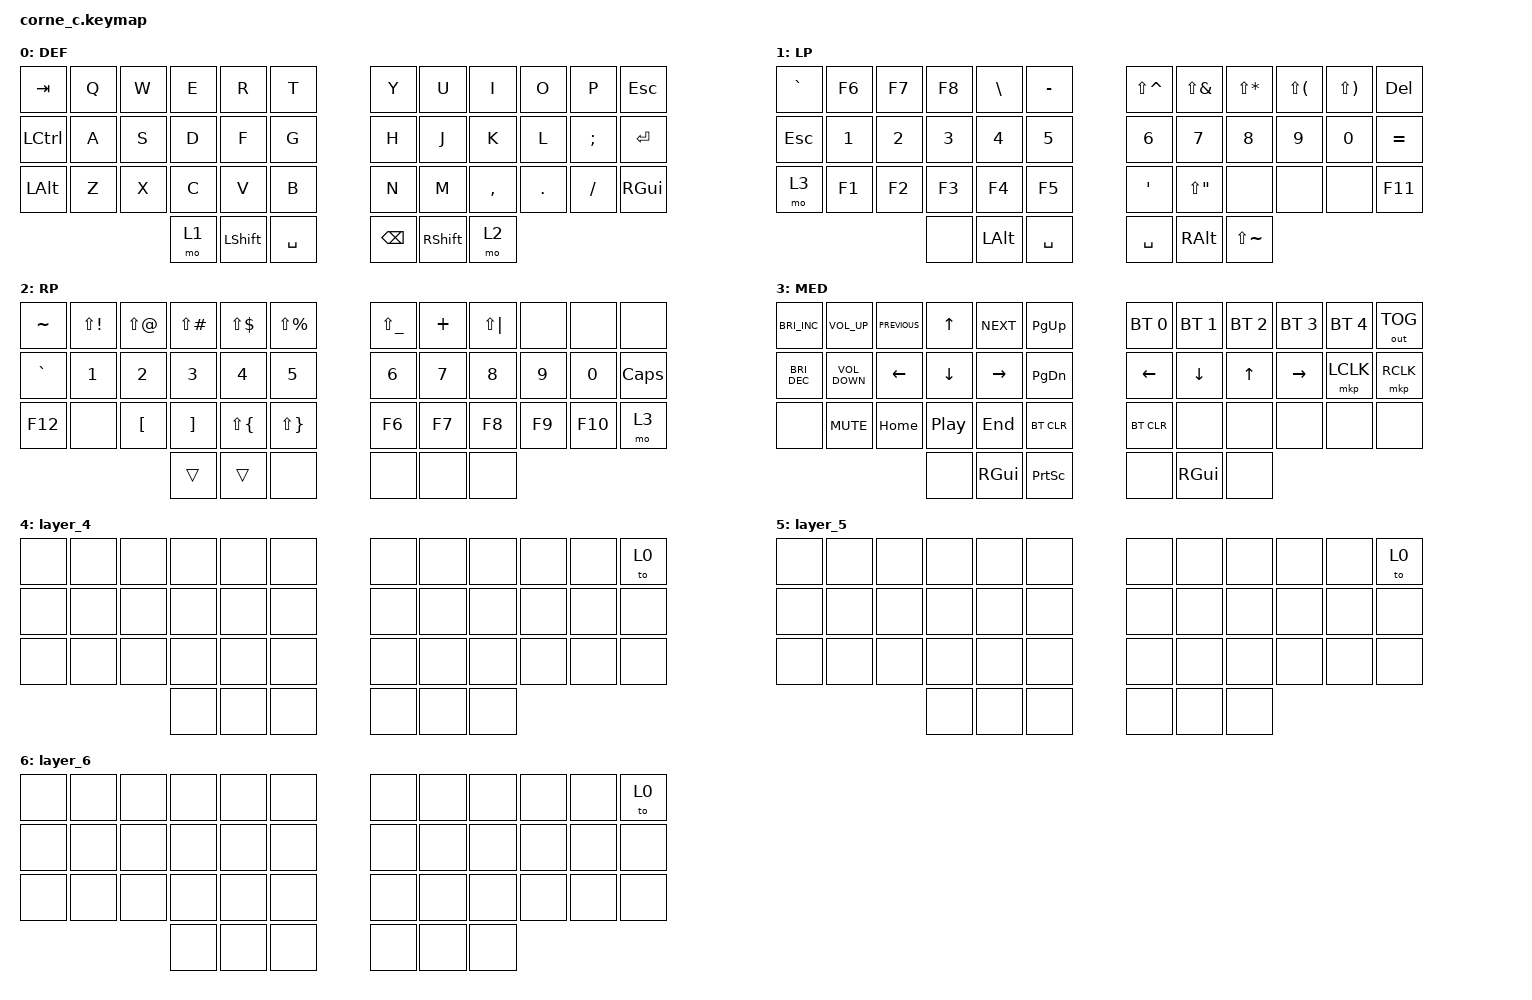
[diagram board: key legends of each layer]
/*
 * Copyright (c) 2020 The ZMK Contributors
 *
 * SPDX-License-Identifier: MIT
 */

#define ZMK_POINTING_DEFAULT_MOVE_VAL 1200  // 600
#define ZMK_POINTING_DEFAULT_SCRL_VAL 25   // 10

#include <dt-bindings/zmk/mouse.h>
#include <behaviors.dtsi>
#include <dt-bindings/zmk/bt.h>
#include <dt-bindings/zmk/keys.h>
#include <dt-bindings/zmk/outputs.h>
#include <dt-bindings/zmk/pointing.h>

/ {
    combos { compatible = "zmk,combos"; };

    macros {
        prev_desktop: prev_desktop {
            compatible = "zmk,behavior-macro";
            #binding-cells = <0>;
            bindings = <&kp LC(LG(LEFT_ARROW))>;
            display-name = "PREV_DESKTOP";
            label = "P-DSK";
        };

        next_desktop: next_desktop {
            compatible = "zmk,behavior-macro";
            #binding-cells = <0>;
            bindings = <&kp LC(LG(RIGHT_ARROW))>;
            display-name = "NEXT_DESKTOP";
            label = "N-DSK";
        };
    };

    keymap {
        compatible = "zmk,keymap";

        default_layer {
            bindings = <
&kp TAB       &kp Q  &kp W  &kp E  &kp R           &kp T        &kp Y          &kp U       &kp I      &kp O    &kp P     &kp ESCAPE
&kp LCTRL     &kp A  &kp S  &kp D  &kp F           &kp G        &kp H          &kp J       &kp K      &kp L    &kp SEMI  &kp RETURN
&kp LEFT_ALT  &kp Z  &kp X  &kp C  &kp V           &kp B        &kp N          &kp M       &kp COMMA  &kp DOT  &kp FSLH  &kp RIGHT_GUI
                            &mo 1  &kp LEFT_SHIFT  &kp SPACE    &kp BACKSPACE  &kp RSHIFT  &mo 2
            >;

            display-name = "DEF";
        };

        l_primer {
            bindings = <
&kp GRAVE  &kp F6  &kp F7  &kp F8  &kp BACKSLASH  &kp MINUS    &kp LS(CARET)  &kp LS(AMPS)  &kp LS(STAR)   &kp LS(LPAR)  &kp LS(RPAR)  &kp DEL
&kp ESC    &kp N1  &kp N2  &kp N3  &kp N4         &kp N5       &kp N6         &kp N7        &kp N8         &kp N9        &kp N0        &kp EQUAL
&mo 3      &kp F1  &kp F2  &kp F3  &kp F4         &kp F5       &kp SQT        &kp LS(DQT)   &none          &none         &none         &kp F11
                           &none   &kp LALT       &kp SPACE    &kp SPACE      &kp RALT      &kp LS(TILDE)
            >;

            display-name = "LP";
        };

        r_primer {
            bindings = <
&kp TILDE  &kp LS(EXCL)  &kp LS(AT)  &kp LS(POUND)  &kp LS(DLLR)  &kp LS(PRCNT)    &kp LS(UNDER)  &kp PLUS  &kp LS(PIPE)  &none   &none    &none
&kp GRAVE  &kp N1        &kp N2      &kp N3         &kp N4        &kp N5           &kp N6         &kp N7    &kp N8        &kp N9  &kp N0   &kp CAPS
&kp F12    &none         &kp LBKT    &kp RBKT       &kp LS(LBRC)  &kp LS(RBRC)     &kp F6         &kp F7    &kp F8        &kp F9  &kp F10  &mo 3
                                     &trans         &trans        &none            &none          &none     &none
            >;

            display-name = "RP";
        };

        media {
            bindings = <
&kp C_BRIGHTNESS_INC  &kp C_VOLUME_UP    &kp C_PREVIOUS  &kp UP_ARROW      &kp C_NEXT     &kp PAGE_UP        &bt BT_SEL 0    &bt BT_SEL 1    &bt BT_SEL 2  &bt BT_SEL 3     &bt BT_SEL 4  &out OUT_TOG
&kp C_BRIGHTNESS_DEC  &kp C_VOLUME_DOWN  &kp LEFT        &kp DOWN          &kp RIGHT      &kp PAGE_DOWN      &kp LEFT_ARROW  &kp DOWN_ARROW  &kp UP_ARROW  &kp RIGHT_ARROW  &mkp LCLK     &mkp RCLK
&none                 &kp C_MUTE         &kp HOME        &kp C_PLAY_PAUSE  &kp END        &bt BT_CLR         &bt BT_CLR      &none           &none         &none            &none         &none
                                                         &none             &kp RIGHT_GUI  &kp PRINTSCREEN    &none           &kp RIGHT_GUI   &none
            >;

            display-name = "MED";
        };

        layer_4 {
            bindings = <
&none  &none  &none  &none  &none  &none    &none  &none  &none  &none  &none  &to 0
&none  &none  &none  &none  &none  &none    &none  &none  &none  &none  &none  &none
&none  &none  &none  &none  &none  &none    &none  &none  &none  &none  &none  &none
                     &none  &none  &none    &none  &none  &none
            >;
        };

        layer_5 {
            bindings = <
&none  &none  &none  &none  &none  &none    &none  &none  &none  &none  &none  &to 0
&none  &none  &none  &none  &none  &none    &none  &none  &none  &none  &none  &none
&none  &none  &none  &none  &none  &none    &none  &none  &none  &none  &none  &none
                     &none  &none  &none    &none  &none  &none
            >;
        };

        layer_6 {
            bindings = <
&none  &none  &none  &none  &none  &none    &none  &none  &none  &none  &none  &to 0
&none  &none  &none  &none  &none  &none    &none  &none  &none  &none  &none  &none
&none  &none  &none  &none  &none  &none    &none  &none  &none  &none  &none  &none
                     &none  &none  &none    &none  &none  &none
            >;
        };
    };
};
